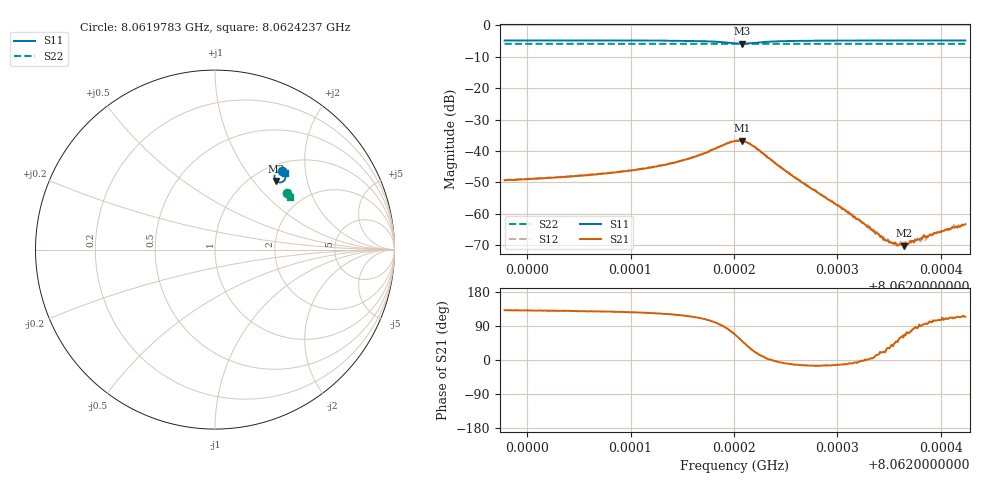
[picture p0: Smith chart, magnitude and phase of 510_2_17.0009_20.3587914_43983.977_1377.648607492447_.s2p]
#  HZ  S  RI  R  50.00
! Rohde & Schwarz Vector Network Analyzer
! Rohde-Schwarz,ZNB20-2Port,1311601062101988,3.16
! Created: UTC 3/20/2024, 11:14:57 PM
! freq[Hz]  re:S11  im:S11  re:S21  im:S21  re:S12  im:S12  re:S22  im:S22
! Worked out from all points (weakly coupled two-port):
!   401 points, 8.0619783 GHz to 8.0624237 GHz, reference 50 ohm
!   highest |S21| = -36.68 dB at 8.0622077 GHz (marker M1); lowest = -70.1 dB at 8.0623647 GHz (marker M2)
!   lowest |S11| = -5.8 dB at 8.0622077 GHz (marker M3), VSWR 3.10, Z = 63.7 + j65.9 ohm
!   |S11| at or under -10 dB: nowhere
!   |S22| runs from -5.9 to -5.8 dB; largest |S21 - S12| = 0.001
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8.06197826e9  0.3756 0.4369  -0.00226 0.00256  -0.00214 0.00276  0.403 0.3127
8.06205287e9  0.3816 0.4309  -0.00256 0.00316  -0.0024 0.00335  0.4057 0.3089
8.06209964e9  0.3859 0.4254  -0.00287 0.00396  -0.00266 0.00414  0.4073 0.3063
8.06212748e9  0.3892 0.4201  -0.00313 0.00487  -0.00287 0.00512  0.4084 0.3049
8.06216089e9  0.3927 0.4077  -0.00321 0.00733  -0.00278 0.00759  0.4095 0.3026
8.06220098e9  0.3586 0.3743  0.0055 0.0133  0.0064 0.013  0.4089 0.2997
8.06220766e9  0.3416 0.3817  0.0093 0.0113  0.00997 0.0106  0.4085 0.2999
8.06221879e9  0.3312 0.4082  0.011 0.0049  0.0114 0.00421  0.4086 0.3008
8.06224886e9  0.3567 0.4354  0.0049 -0.00073  0.00493 -0.00105  0.4111 0.3002
8.06227559e9  0.3694 0.435  0.0024 -0.000628  0.00236 -0.00082  0.4127 0.2987
8.06230454e9  0.3766 0.4326  0.00116 -0.000257  0.0012 -0.000345  0.414 0.297
8.0623424e9  0.3822 0.4295  0.000416 0.000145  0.000414 0.000107  0.4154 0.2951
8.0623502e9  0.3832 0.429  0.000301 0.000178  0.000307 0.000183  0.4156 0.2946
8.06235465e9  0.3838 0.4287  0.000251 0.000233  0.000255 0.000194  0.4158 0.2945
8.06235911e9  0.3842 0.4283  0.000189 0.000257  0.000228 0.000247  0.4159 0.2942
8.06236468e9  0.3848 0.4279  0.000122 0.000286  0.000202 0.000281  0.4161 0.2939
8.06236913e9  0.3852 0.4277  0.000111 0.000321  8.74e-05 0.000311  0.4164 0.2935
8.06237692e9  0.386 0.4271  4.09e-05 0.000386  6.75e-05 0.000401  0.4166 0.2932
8.06238583e9  0.387 0.4264  -4.59e-05 0.000436  -2.14e-05 0.000398  0.417 0.2927
8.06239586e9  0.3877 0.4259  -0.00012 0.000476  -0.000108 0.0005  0.4174 0.2922
8.06241479e9  0.3894 0.4246  -0.000247 0.000577  -0.000182 0.000627  0.418 0.2911
8.0624237e9  0.3901 0.424  -0.000284 0.000627  -0.000275 0.000639  0.4183 0.2907
